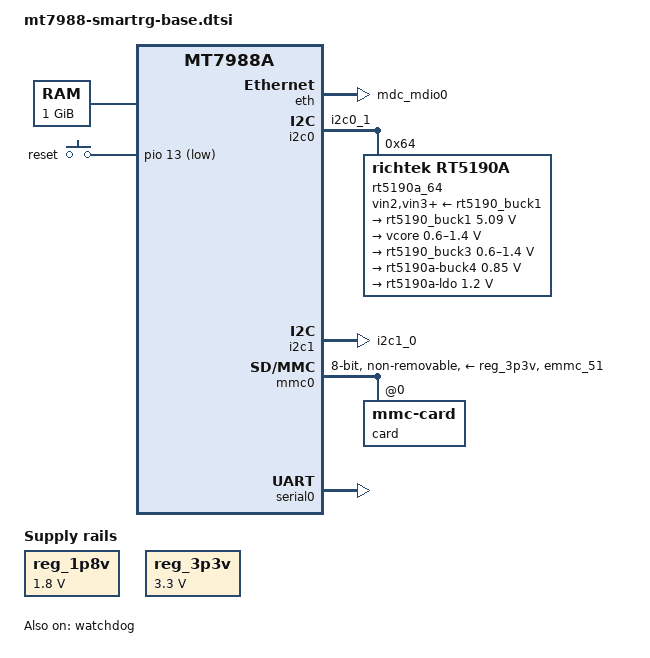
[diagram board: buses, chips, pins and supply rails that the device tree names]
// SPDX-License-Identifier: (GPL-2.0 OR MIT)
/*
 * Copyright (C) 2026 SmartRG Inc.
 * Author: Chad Monroe <chad.monroe@smartrg.com>
 *
 * Hardware common to all SmartRG MT7988 designs: PMIC, fixed
 * regulators, eMMC, ramoops/bootdata layout, console, watchdog and
 * the reset button. Boards on MT7988D must delete cpu@3 themselves.
 */

/dts-v1/;
#include "mt7988a.dtsi"
#include "mt798x-smartrg-common.dtsi"

#include <dt-bindings/gpio/gpio.h>
#include <dt-bindings/input/input.h>
#include <dt-bindings/leds/common.h>
#include <dt-bindings/pinctrl/mt65xx.h>
#include <dt-bindings/regulator/richtek,rt5190a-regulator.h>

/ {
	aliases {
		serial0 = &serial0;
	};

	chosen {
		bootargs = "console=ttyS0,115200n1 root=PARTLABEL=rootfs";
		stdout-path = "serial0:115200n8";
	};

	memory@40000000 {
		reg = <0x0 0x40000000 0x0 0x40000000>;
		device_type = "memory";
	};

	reserved-memory {
		#address-cells = <2>;
		#size-cells = <2>;
		ranges;

		/delete-node/ramoops@42ff0000;

		bootdata_reserved: bootdata@45000000 {
			no-map;
			reg = <0x0 0x45000000 0x0 0x00001000>;
		};

		ramoops_reserved: ramoops@45001000 {
			no-map;
			compatible = "ramoops";
			reg = <0x0 0x45001000 0x0 0x00140000>;
			ftrace-size = <0x20000>;
			record-size = <0x20000>;
			console-size = <0x20000>;
			pmsg-size = <0x80000>;
		};
	};

	reg_1p8v: regulator-1p8v {
		compatible = "regulator-fixed";
		regulator-name = "fixed-1.8V";
		regulator-min-microvolt = <1800000>;
		regulator-max-microvolt = <1800000>;
		regulator-boot-on;
		regulator-always-on;
	};

	reg_3p3v: regulator-3p3v {
		compatible = "regulator-fixed";
		regulator-name = "fixed-3.3V";
		regulator-min-microvolt = <3300000>;
		regulator-max-microvolt = <3300000>;
		regulator-boot-on;
		regulator-always-on;
	};

	gpio-keys {
		compatible = "gpio-keys";
		pinctrl-names = "default";
		pinctrl-0 = <&button_pins>;

		button-reset {
			label = "reset";
			linux,code = <KEY_RESTART>;
			gpios = <&pio 13 GPIO_ACTIVE_LOW>;
		};
	};
};

&cpu0 {
	proc-supply = <&rt5190_buck3>;
};

&cpu1 {
	proc-supply = <&rt5190_buck3>;
};

&cpu2 {
	proc-supply = <&rt5190_buck3>;
};

&cpu3 {
	proc-supply = <&rt5190_buck3>;
};

&cci {
	proc-supply = <&rt5190_buck3>;
};

&eth {
	pinctrl-0 = <&mdio0_pins>;
	pinctrl-names = "default";
	status = "okay";
};

&i2c0 {
	pinctrl-names = "default";
	pinctrl-0 = <&i2c0_pins>;
	status = "okay";

	rt5190a_64: rt5190a@64 {
		compatible = "richtek,rt5190a";
		reg = <0x64>;
		/*interrupts-extended = <&gpio26 0 IRQ_TYPE_LEVEL_LOW>;*/
		vin2-supply = <&rt5190_buck1>;
		vin3-supply = <&rt5190_buck1>;
		vin4-supply = <&rt5190_buck1>;

		regulators {
			rt5190_buck1: buck1 {
				regulator-name = "rt5190a-buck1";
				regulator-min-microvolt = <5090000>;
				regulator-max-microvolt = <5090000>;
				regulator-allowed-modes =
				<RT5190A_OPMODE_AUTO RT5190A_OPMODE_FPWM>;
				regulator-boot-on;
				regulator-always-on;
			};
			buck2 {
				regulator-name = "vcore";
				regulator-min-microvolt = <600000>;
				regulator-max-microvolt = <1400000>;
				regulator-boot-on;
				regulator-always-on;
			};
			rt5190_buck3: buck3 {
				regulator-name = "vproc";
				regulator-min-microvolt = <600000>;
				regulator-max-microvolt = <1400000>;
				regulator-boot-on;
			};
			buck4 {
				regulator-name = "rt5190a-buck4";
				regulator-min-microvolt = <850000>;
				regulator-max-microvolt = <850000>;
				regulator-allowed-modes =
				<RT5190A_OPMODE_AUTO RT5190A_OPMODE_FPWM>;
				regulator-boot-on;
				regulator-always-on;
			};
			ldo {
				regulator-name = "rt5190a-ldo";
				regulator-min-microvolt = <1200000>;
				regulator-max-microvolt = <1200000>;
				regulator-boot-on;
				regulator-always-on;
			};
		};
	};
};

&i2c1 {
	pinctrl-names = "default";
	pinctrl-0 = <&i2c1_pins>;
	status = "okay";
};

&mmc0 {
	pinctrl-names = "default", "state_uhs";
	pinctrl-0 = <&mmc0_pins_emmc_51>;
	pinctrl-1 = <&mmc0_pins_emmc_51>;
	bus-width = <8>;
	max-frequency = <200000000>;
	cap-mmc-highspeed;
	mmc-hs200-1_8v;
	vmmc-supply = <&reg_3p3v>;
	vqmmc-supply = <&reg_1p8v>;
	non-removable;
	no-sd;
	no-sdio;
	status = "okay";
	#address-cells = <1>;
	#size-cells = <0>;

	card@0 {
		compatible = "mmc-card";
		reg = <0>;

		emmc_block: block {
			compatible = "block-device";
		};
	};
};

&pio {
	button_pins: button-pins {
		pins = "GPIO_RESET";
		bias-disable;
	};

	i2c0_pins: i2c0-g0-pins {
		mux {
			function = "i2c";
			groups = "i2c0_1";
		};
	};

	i2c1_pins: i2c1-g0-pins {
		mux {
			function = "i2c";
			groups = "i2c1_0";
		};
	};

	mdio0_pins: mdio0-pins {
		mux {
			function = "eth";
			groups = "mdc_mdio0";
		};

		conf {
			groups = "mdc_mdio0";
			drive-strength = <MTK_DRIVE_8mA>;
		};
	};

	mmc0_pins_emmc_51: mmc0-emmc-51-pins {
		mux {
			function = "flash";
			groups = "emmc_51";
		};
	};
};

&serial0 {
	status = "okay";
};

&watchdog {
	status = "okay";
};
